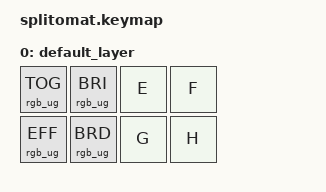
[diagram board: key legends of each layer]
#include <behaviors.dtsi>
#include <dt-bindings/zmk/keys.h>
#include <dt-bindings/zmk/rgb.h>

/ {
    keymap {
        compatible = "zmk,keymap";

        default_layer { // Layer 0
            // -------------------------------------
            // |     Z     |     M     |     K     |
            // |     A     |     B     |     C     |
            // |     D     |     E     |     F     |
            bindings = <
                &rgb_ug RGB_TOG    &rgb_ug RGB_BRI   &kp E    &kp F
                &rgb_ug RGB_EFF    &rgb_ug RGB_BRD   &kp G    &kp H
            >;
        };
    };
 };
